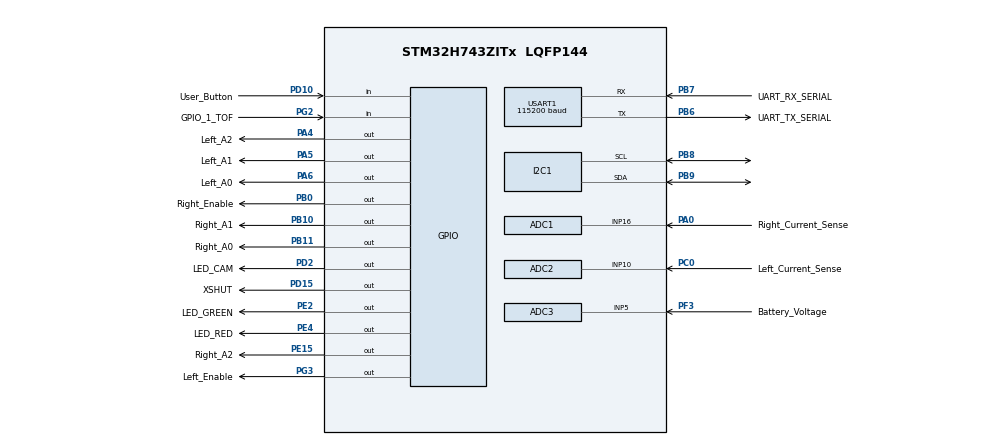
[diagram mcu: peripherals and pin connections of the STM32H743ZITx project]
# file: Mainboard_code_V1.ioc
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ADC1.Channel-0\#ChannelRegularConversion=ADC_CHANNEL_16
ADC1.ClockPrescaler=ADC_CLOCK_ASYNC_DIV4
ADC1.NbrOfConversionFlag=1
ADC1.OffsetNumber-0\#ChannelRegularConversion=ADC_OFFSET_NONE
ADC1.OffsetSignedSaturation-0\#ChannelRegularConversion=DISABLE
ADC1.Rank-0\#ChannelRegularConversion=1
ADC1.SamplingTime-0\#ChannelRegularConversion=ADC_SAMPLETIME_1CYCLE_5
ADC1.master=1
ADC2.Channel-0\#ChannelRegularConversion=ADC_CHANNEL_10
ADC2.ClockPrescaler=ADC_CLOCK_ASYNC_DIV4
ADC2.NbrOfConversionFlag=1
ADC2.OffsetNumber-0\#ChannelRegularConversion=ADC_OFFSET_NONE
ADC2.OffsetSignedSaturation-0\#ChannelRegularConversion=DISABLE
ADC2.Rank-0\#ChannelRegularConversion=1
ADC2.SamplingTime-0\#ChannelRegularConversion=ADC_SAMPLETIME_1CYCLE_5
ADC3.Channel-0\#ChannelRegularConversion=ADC_CHANNEL_5
ADC3.ClockPrescaler=ADC_CLOCK_ASYNC_DIV4
ADC3.NbrOfConversionFlag=1
ADC3.OffsetNumber-0\#ChannelRegularConversion=ADC_OFFSET_NONE
ADC3.OffsetSignedSaturation-0\#ChannelRegularConversion=DISABLE
ADC3.Rank-0\#ChannelRegularConversion=1
ADC3.SamplingTime-0\#ChannelRegularConversion=ADC_SAMPLETIME_1CYCLE_5
CORTEX_M7.default_mode_Activation=1
I2C1.Timing=0x00303D5B
Mcu.Family=STM32H7
Mcu.Name=STM32H743ZITx
Mcu.Package=LQFP144
NVIC.PriorityGroup=NVIC_PRIORITYGROUP_4
PA0.GPIO_Label=Right_Current_Sense
PA0.Mode=IN16-Single-Ended
PA0.Signal=ADC1_INP16
PA13\ (JTMS/SWDIO).Signal=DEBUG_JTMS-SWDIO
PA14\ (JTCK/SWCLK).Signal=DEBUG_JTCK-SWCLK
PA4.GPIO_Label=Left_A2
PA4.Signal=GPIO_Output
PA5.GPIO_Label=Left_A1
PA5.Signal=GPIO_Output
PA6.GPIO_Label=Left_A0
PA6.Signal=GPIO_Output
PA8.GPIO_Label=DIN_WS2812B_1
PA8.Signal=S_TIM1_CH1
PA9.GPIO_Label=DIN_WS2812B_2
PA9.Signal=S_TIM1_CH2
PB0.GPIO_Label=Right_Enable
PB0.Signal=GPIO_Output
PB10.GPIO_Label=Right_A1
PB10.Signal=GPIO_Output
PB11.GPIO_Label=Right_A0
PB11.Signal=GPIO_Output
PB3\ (JTDO/TRACESWO).Signal=DEBUG_JTDO-SWO
PB6.GPIO_Label=UART_TX_SERIAL
PB6.GPIO_PuPd=GPIO_NOPULL
PB6.GPIO_Speed=GPIO_SPEED_FREQ_VERY_HIGH
PB6.Mode=Asynchronous
PB6.Signal=USART1_TX
PB7.GPIO_Label=UART_RX_SERIAL
PB7.GPIO_Speed=GPIO_SPEED_FREQ_VERY_HIGH
PB7.Mode=Asynchronous
PB7.Signal=USART1_RX
PB8.GPIO_Speed=GPIO_SPEED_FREQ_VERY_HIGH
PB8.Mode=I2C
PB8.Signal=I2C1_SCL
PB9.GPIO_Speed=GPIO_SPEED_FREQ_VERY_HIGH
PB9.Mode=I2C
PB9.Signal=I2C1_SDA
PC0.GPIO_Label=Left_Current_Sense
PC0.Signal=ADCx_INP10
PD10.GPIO_Label=User_Button
PD10.Signal=GPIO_Input
PD15.GPIO_Label=XSHUT
PD15.Signal=GPIO_Output
PD2.GPIO_Label=LED_CAM
PD2.Signal=GPIO_Output
PE15.GPIO_Label=Right_A2
PE15.Signal=GPIO_Output
PE2.GPIO_Label=LED_GREEN
PE2.Signal=GPIO_Output
PE4.GPIO_Label=LED_RED
PE4.Signal=GPIO_Output
PF3.GPIO_Label=Battery_Voltage
PF3.Mode=IN5-Single-Ended
PF3.Signal=ADC3_INP5
PG2.GPIO_Label=GPIO_1_TOF
PG2.GPIO_PuPd=GPIO_PULLUP
PG2.Signal=GPIO_Input
PG3.GPIO_Label=Left_Enable
PG3.Signal=GPIO_Output
ProjectManager.HeapSize=0x200
ProjectManager.StackSize=0x400
ProjectManager.TargetToolchain=STM32CubeIDE
RCC.ADCFreq_Value=80000000
RCC.APB1Freq_Value=16000000
RCC.APB2Freq_Value=16000000
RCC.APB3Freq_Value=32000000
RCC.APB4Freq_Value=32000000
RCC.CortexFreq_Value=32000000
RCC.D2PPRE1=RCC_APB1_DIV2
RCC.D2PPRE2=RCC_APB2_DIV2
RCC.DIVM2=2
RCC.DIVN2=10
RCC.HCLKFreq_Value=32000000
RCC.HSIDiv=RCC_PLLSAIDIVR_2
RCC.PLL2FRACN=0
RCC.SYSCLKFreq_VALUE=32000000
RCC.USBFreq_Value=64500000
SH.ADCx_INP10.0=ADC2_INP10,IN10-Single-Ended
SH.S_TIM1_CH1.0=TIM1_CH1
SH.S_TIM1_CH2.0=TIM1_CH2
USART1.BaudRate=115200
USART1.VirtualMode-Asynchronous=VM_ASYNC
VP_MEMORYMAP_VS_MEMORYMAP.Mode=CurAppReg
board=custom

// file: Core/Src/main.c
/* USER CODE BEGIN Header */
/**
  ******************************************************************************
  * @file           : main.c
  * @brief          : Hexapod mainboard — IMU + ToF readout + dual PCA9685 servo control
  *
  * UART commands (115200 8N1, terminated with \r or \n):
  *   R<n> <angle>   — set servo n (1-9) on Right board to angle (0-180)
  *   L<n> <angle>   — set servo n (1-9) on Left  board to angle (0-180)
  *   STATUS         — print one sensor snapshot
  *   STREAM         — toggle continuous sensor output (~10 Hz)
  *   CENTER         — move all servos to 90° (both boards)
  *
  * Examples:
  *   R3 90    → right servo 3 to 90°
  *   L5 45    → left servo 5 to 45°
  ******************************************************************************
  */
/* USER CODE END Header */

#include "main.h"

/* USER CODE BEGIN Includes */
#include <stdio.h>
#include <string.h>
#include <stdint.h>
#include <ctype.h>
#include "pca9685.h"
#include "imu.h"
#include "tof.h"
/* USER CODE END Includes */

ADC_HandleTypeDef hadc1;
ADC_HandleTypeDef hadc2;
ADC_HandleTypeDef hadc3;
I2C_HandleTypeDef hi2c1;
UART_HandleTypeDef huart1;

/* USER CODE BEGIN PV */
/* Servo Drivers */
static PCA9685_t pca_right;
static PCA9685_t pca_left;

/* IMU */
static stmdev_ctx_t imu_ctx;
static IMU_Data_t   imu_data;

/* ToF */
static TOF_Data_t tof_data;

/* UART receive */
#define CMD_BUF_LEN 32
static char    cmd_buf[CMD_BUF_LEN];
static uint8_t cmd_idx   = 0;
static uint8_t cmd_ready = 0;

/* Sensor streaming */
static uint8_t  stream_on      = 0;
static uint32_t next_stream_ms = 0;
#define STREAM_INTERVAL_MS  100u   /* 10 Hz */
/* USER CODE END PV */

void SystemClock_Config(void);
void PeriphCommonClock_Config(void);
static void MPU_Config(void);
static void MX_GPIO_Init(void);
static void MX_USART1_UART_Init(void);
static void MX_ADC1_Init(void);
static void MX_ADC2_Init(void);
static void MX_ADC3_Init(void);
static void MX_I2C1_Init(void);

/* USER CODE BEGIN PFP */
static void process_command(const char *cmd);
static void center_all_servos(void);
/* USER CODE END PFP */

/* USER CODE BEGIN 0 */

/* SYS-remap to UART */
int _write(int file, char *ptr, int len)
{
    HAL_UART_Transmit(&huart1, (uint8_t *)ptr, len, HAL_MAX_DELAY);
    return len;
}

/* ── UART polling receive — call every main loop iteration ─────────────── */
static void uart_poll(void)
{
    uint8_t byte;
    if (HAL_UART_Receive(&huart1, &byte, 1, 1) != HAL_OK)
        return;   /* no byte within 1 ms */

    char c = (char)byte;

    /* Echo the character back so the user sees what they typed */
    HAL_UART_Transmit(&huart1, &byte, 1, 10);

    if (c == '\r' || c == '\n') {
        /* Echo newline */
        uint8_t crlf[2] = {'\r', '\n'};
        HAL_UART_Transmit(&huart1, crlf, 2, 10);

        if (cmd_idx > 0) {
            cmd_buf[cmd_idx] = '\0';
            cmd_idx   = 0;
            cmd_ready = 1;
        }
    } else if (c == 127 || c == '\b') {
        /* Backspace — remove last char */
        if (cmd_idx > 0) cmd_idx--;
    } else if (cmd_idx < CMD_BUF_LEN - 1) {
        cmd_buf[cmd_idx++] = c;
    }
}

/* ── Command processing ─────────────────────────────────────────────────── */

static void process_command(const char *cmd)
{
    char side;
    int  index;
    float angle;

    /* Convert first char to upper for case-insensitive match */
    char first = (char)toupper((unsigned char)cmd[0]);

    if (first == 'R' || first == 'L') {
        /* Servo command: R<n> <angle>  or  L<n> <angle> */
        if (sscanf(cmd + 1, "%d %f", &index, &angle) == 2) {
            if (index < 1 || index > 9) {
                printf("ERR: servo index must be 1-9\r\n");
                return;
            }
            side = first;
            PCA9685_t *board = (side == 'R') ? &pca_right : &pca_left;
            HAL_StatusTypeDef s = PCA9685_SetServoAngle(board,
                                      (uint8_t)(index - 1), angle);
            if (s == HAL_OK)
                printf("OK: %c%d = %.1f deg\r\n", side, index, angle);
            else
                printf("ERR: I2C failed for %c%d\r\n", side, index);
        } else {
            printf("ERR: format is R<1-9> <0-180>  e.g. R3 90\r\n");
        }

    } else if (strncmp(cmd, "STATUS", 6) == 0 ||
               strncmp(cmd, "status", 6) == 0) {
        IMU_Read(&imu_ctx, &imu_data);
        IMU_Print(&imu_data);
        int8_t got = TOF_Read(&tof_data);
        if (got == 1)
            TOF_Print(&tof_data);
        else
            printf("TOF | no data\r\n");

    } else if (strncmp(cmd, "STREAM", 6) == 0 ||
               strncmp(cmd, "stream", 6) == 0) {
        stream_on = !stream_on;
        printf("STREAM %s\r\n", stream_on ? "ON" : "OFF");

    } else if (strncmp(cmd, "CENTER", 6) == 0 ||
               strncmp(cmd, "center", 6) == 0) {
        center_all_servos();
        printf("OK: all servos centered\r\n");

    } else {
        printf("ERR: unknown command '%s'\r\n", cmd);
        printf("     Valid: R<1-9> <deg>, L<1-9> <deg>, STATUS, STREAM, CENTER\r\n");
    }
}

static void center_all_servos(void)
{
    for (uint8_t ch = 0; ch < 9; ch++) {
    	PCA9685_SetServoAngle(&pca_right, ch, 90.0f);
        PCA9685_SetServoAngle(&pca_left,  ch, 90.0f);
    }
}

/* USER CODE END 0 */

int main(void)
{
    MPU_Config();
    HAL_Init();
    SystemClock_Config();
    PeriphCommonClock_Config();

    MX_GPIO_Init();
    MX_USART1_UART_Init();
    MX_ADC1_Init();
    MX_ADC2_Init();
    MX_ADC3_Init();
    MX_I2C1_Init();

    /* USER CODE BEGIN 2 */
    setvbuf(stdout, NULL, _IONBF, 0);

    printf("\r\n=== Hexapod Mainboard ===\r\n");

    /* ── Enable servo driver OE pins (active-low on your board) ── */
    HAL_GPIO_WritePin(Right_Enable_GPIO_Port, Right_Enable_Pin, GPIO_PIN_RESET);
    HAL_GPIO_WritePin(Left_Enable_GPIO_Port,  Left_Enable_Pin,  GPIO_PIN_RESET);

    /* ── PCA9685 Right ────────────────────────────────────────── */
    pca_right.hi2c   = &hi2c1;
    pca_right.addr   = PCA9685_ADDR_RIGHT;
    pca_right.freq_hz = 50.0f;
    pca_right.min_us = PCA9685_SERVO_MIN_US;
    pca_right.max_us = PCA9685_SERVO_MAX_US;

    if (PCA9685_Init(&pca_right) == HAL_OK)
        printf("PCA9685 Right: OK\r\n");
    else
        printf("PCA9685 Right: FAIL\r\n");

    /* ── PCA9685 Left ─────────────────────────────────────────── */
    pca_left.hi2c   = &hi2c1;
    pca_left.addr   = PCA9685_ADDR_LEFT;
    pca_left.freq_hz = 50.0f;
    pca_left.min_us = PCA9685_SERVO_MIN_US;
    pca_left.max_us = PCA9685_SERVO_MAX_US;

    if (PCA9685_Init(&pca_left) == HAL_OK)
        printf("PCA9685 Left:  OK\r\n");
    else
        printf("PCA9685 Left:  FAIL\r\n");

    /* Center all servos on boot */
    center_all_servos();

    /* ── IMU ──────────────────────────────────────────────────── */
    if (IMU_Init(&imu_ctx, &hi2c1) == 0)
        printf("LSM6DSO IMU:   OK\r\n");
    else
        printf("LSM6DSO IMU:   FAIL\r\n");

    /* ── ToF ──────────────────────────────────────────────────── */
    if (TOF_Init(&hi2c1) == 0)
        printf("VL53L1X ToF:   OK\r\n");
    else
        printf("VL53L1X ToF:   FAIL\r\n");

    printf("\r\nReady. Send commands (e.g. R3 90, L5 45, STATUS, STREAM)\r\n> ");
    /* USER CODE END 2 */

    /* Infinite loop */
    while (1)
    {
        /* USER CODE BEGIN WHILE */

        /* ── Poll for incoming UART bytes ──────────────────────── */
        uart_poll();

        /* ── Handle completed command ───────────────────────────── */
        if (cmd_ready) {
            cmd_ready = 0;
            process_command(cmd_buf);
            printf("> ");   /* prompt for next command */
        }

        /* ── Streaming sensor output ───────────────────────────── */
        if (stream_on && HAL_GetTick() >= next_stream_ms) {
            next_stream_ms = HAL_GetTick() + STREAM_INTERVAL_MS;

            IMU_Read(&imu_ctx, &imu_data);
            IMU_Print(&imu_data);

            int8_t got = TOF_Read(&tof_data);
            if (got == 1) TOF_Print(&tof_data);
        }

        /* ── Heartbeat LED ─────────────────────────────────────── */
        static uint32_t last_led = 0;
        if (HAL_GetTick() - last_led >= 500) {
            last_led = HAL_GetTick();
            HAL_GPIO_TogglePin(LED_GREEN_GPIO_Port, LED_GREEN_Pin);
        }

        /* USER CODE END WHILE */
    }
}

void SystemClock_Config(void)
{
    RCC_OscInitTypeDef RCC_OscInitStruct = {0};
    RCC_ClkInitTypeDef RCC_ClkInitStruct = {0};

    HAL_PWREx_ConfigSupply(PWR_LDO_SUPPLY);
    __HAL_PWR_VOLTAGESCALING_CONFIG(PWR_REGULATOR_VOLTAGE_SCALE3);
    while (!__HAL_PWR_GET_FLAG(PWR_FLAG_VOSRDY)) {}

    __HAL_RCC_PLL_PLLSOURCE_CONFIG(RCC_PLLSOURCE_HSI);

    RCC_OscInitStruct.OscillatorType      = RCC_OSCILLATORTYPE_HSI;
    RCC_OscInitStruct.HSIState            = RCC_HSI_DIV2;
    RCC_OscInitStruct.HSICalibrationValue = RCC_HSICALIBRATION_DEFAULT;
    RCC_OscInitStruct.PLL.PLLState        = RCC_PLL_NONE;
    if (HAL_RCC_OscConfig(&RCC_OscInitStruct) != HAL_OK) Error_Handler();

    RCC_ClkInitStruct.ClockType      = RCC_CLOCKTYPE_HCLK | RCC_CLOCKTYPE_SYSCLK
                                     | RCC_CLOCKTYPE_PCLK1 | RCC_CLOCKTYPE_PCLK2
                                     | RCC_CLOCKTYPE_D3PCLK1 | RCC_CLOCKTYPE_D1PCLK1;
    RCC_ClkInitStruct.SYSCLKSource   = RCC_SYSCLKSOURCE_HSI;
    RCC_ClkInitStruct.SYSCLKDivider  = RCC_SYSCLK_DIV1;
    RCC_ClkInitStruct.AHBCLKDivider  = RCC_HCLK_DIV1;
    RCC_ClkInitStruct.APB3CLKDivider = RCC_APB3_DIV1;
    RCC_ClkInitStruct.APB1CLKDivider = RCC_APB1_DIV2;
    RCC_ClkInitStruct.APB2CLKDivider = RCC_APB2_DIV2;
    RCC_ClkInitStruct.APB4CLKDivider = RCC_APB4_DIV1;
    if (HAL_RCC_ClockConfig(&RCC_ClkInitStruct, FLASH_LATENCY_0) != HAL_OK)
        Error_Handler();
}

void PeriphCommonClock_Config(void)
{
    RCC_PeriphCLKInitTypeDef PeriphClkInitStruct = {0};

    PeriphClkInitStruct.PeriphClockSelection = RCC_PERIPHCLK_ADC;
    PeriphClkInitStruct.PLL2.PLL2M           = 2;
    PeriphClkInitStruct.PLL2.PLL2N           = 10;
    PeriphClkInitStruct.PLL2.PLL2P           = 2;
    PeriphClkInitStruct.PLL2.PLL2Q           = 2;
    PeriphClkInitStruct.PLL2.PLL2R           = 2;
    PeriphClkInitStruct.PLL2.PLL2RGE         = RCC_PLL2VCIRANGE_3;
    PeriphClkInitStruct.PLL2.PLL2VCOSEL      = RCC_PLL2VCOMEDIUM;
    PeriphClkInitStruct.PLL2.PLL2FRACN       = 0;
    PeriphClkInitStruct.AdcClockSelection    = RCC_ADCCLKSOURCE_PLL2;
    if (HAL_RCCEx_PeriphCLKConfig(&PeriphClkInitStruct) != HAL_OK) Error_Handler();
}

/**
  * @brief ADC1 Initialization
  */
static void MX_ADC1_Init(void)
{
    ADC_MultiModeTypeDef multimode = {0};
    ADC_ChannelConfTypeDef sConfig = {0};

    hadc1.Instance                   = ADC1;
    hadc1.Init.ClockPrescaler        = ADC_CLOCK_ASYNC_DIV4;
    hadc1.Init.Resolution            = ADC_RESOLUTION_16B;
    hadc1.Init.ScanConvMode          = ADC_SCAN_DISABLE;
    hadc1.Init.EOCSelection          = ADC_EOC_SINGLE_CONV;
    hadc1.Init.LowPowerAutoWait      = DISABLE;
    hadc1.Init.ContinuousConvMode    = DISABLE;
    hadc1.Init.NbrOfConversion       = 1;
    hadc1.Init.DiscontinuousConvMode = DISABLE;
    hadc1.Init.ExternalTrigConv      = ADC_SOFTWARE_START;
    hadc1.Init.ExternalTrigConvEdge  = ADC_EXTERNALTRIGCONVEDGE_NONE;
    hadc1.Init.ConversionDataManagement = ADC_CONVERSIONDATA_DR;
    hadc1.Init.Overrun               = ADC_OVR_DATA_PRESERVED;
    hadc1.Init.LeftBitShift          = ADC_LEFTBITSHIFT_NONE;
    hadc1.Init.OversamplingMode      = DISABLE;
    hadc1.Init.Oversampling.Ratio    = 1;
    if (HAL_ADC_Init(&hadc1) != HAL_OK) Error_Handler();

    multimode.Mode = ADC_MODE_INDEPENDENT;
    if (HAL_ADCEx_MultiModeConfigChannel(&hadc1, &multimode) != HAL_OK) Error_Handler();

    sConfig.Channel              = ADC_CHANNEL_16;
    sConfig.Rank                 = ADC_REGULAR_RANK_1;
    sConfig.SamplingTime         = ADC_SAMPLETIME_1CYCLE_5;
    sConfig.SingleDiff           = ADC_SINGLE_ENDED;
    sConfig.OffsetNumber         = ADC_OFFSET_NONE;
    sConfig.Offset               = 0;
    sConfig.OffsetSignedSaturation = DISABLE;
    if (HAL_ADC_ConfigChannel(&hadc1, &sConfig) != HAL_OK) Error_Handler();
}

/**
  * @brief ADC2 Initialization
  */
static void MX_ADC2_Init(void)
{
    ADC_ChannelConfTypeDef sConfig = {0};

    hadc2.Instance                   = ADC2;
    hadc2.Init.ClockPrescaler        = ADC_CLOCK_ASYNC_DIV4;
    hadc2.Init.Resolution            = ADC_RESOLUTION_16B;
    hadc2.Init.ScanConvMode          = ADC_SCAN_DISABLE;
    hadc2.Init.EOCSelection          = ADC_EOC_SINGLE_CONV;
    hadc2.Init.LowPowerAutoWait      = DISABLE;
    hadc2.Init.ContinuousConvMode    = DISABLE;
    hadc2.Init.NbrOfConversion       = 1;
    hadc2.Init.DiscontinuousConvMode = DISABLE;
    hadc2.Init.ExternalTrigConv      = ADC_SOFTWARE_START;
    hadc2.Init.ExternalTrigConvEdge  = ADC_EXTERNALTRIGCONVEDGE_NONE;
    hadc2.Init.ConversionDataManagement = ADC_CONVERSIONDATA_DR;
    hadc2.Init.Overrun               = ADC_OVR_DATA_PRESERVED;
    hadc2.Init.LeftBitShift          = ADC_LEFTBITSHIFT_NONE;
    hadc2.Init.OversamplingMode      = DISABLE;
    hadc2.Init.Oversampling.Ratio    = 1;
    if (HAL_ADC_Init(&hadc2) != HAL_OK) Error_Handler();

    sConfig.Channel              = ADC_CHANNEL_10;
    sConfig.Rank                 = ADC_REGULAR_RANK_1;
    sConfig.SamplingTime         = ADC_SAMPLETIME_1CYCLE_5;
    sConfig.SingleDiff           = ADC_SINGLE_ENDED;
    sConfig.OffsetNumber         = ADC_OFFSET_NONE;
    sConfig.Offset               = 0;
    sConfig.OffsetSignedSaturation = DISABLE;
    if (HAL_ADC_ConfigChannel(&hadc2, &sConfig) != HAL_OK) Error_Handler();
}

/**
  * @brief ADC3 Initialization
  */
static void MX_ADC3_Init(void)
{
    ADC_ChannelConfTypeDef sConfig = {0};

    hadc3.Instance                   = ADC3;
    hadc3.Init.ClockPrescaler        = ADC_CLOCK_ASYNC_DIV4;
    hadc3.Init.Resolution            = ADC_RESOLUTION_16B;
    hadc3.Init.ScanConvMode          = ADC_SCAN_DISABLE;
    hadc3.Init.EOCSelection          = ADC_EOC_SINGLE_CONV;
    hadc3.Init.LowPowerAutoWait      = DISABLE;
    hadc3.Init.ContinuousConvMode    = DISABLE;
    hadc3.Init.NbrOfConversion       = 1;
    hadc3.Init.DiscontinuousConvMode = DISABLE;
    hadc3.Init.ExternalTrigConv      = ADC_SOFTWARE_START;
    hadc3.Init.ExternalTrigConvEdge  = ADC_EXTERNALTRIGCONVEDGE_NONE;
    hadc3.Init.ConversionDataManagement = ADC_CONVERSIONDATA_DR;
    hadc3.Init.Overrun               = ADC_OVR_DATA_PRESERVED;
    hadc3.Init.LeftBitShift          = ADC_LEFTBITSHIFT_NONE;
    hadc3.Init.OversamplingMode      = DISABLE;
    hadc3.Init.Oversampling.Ratio    = 1;
    if (HAL_ADC_Init(&hadc3) != HAL_OK) Error_Handler();

    sConfig.Channel              = ADC_CHANNEL_5;
    sConfig.Rank                 = ADC_REGULAR_RANK_1;
    sConfig.SamplingTime         = ADC_SAMPLETIME_1CYCLE_5;
    sConfig.SingleDiff           = ADC_SINGLE_ENDED;
    sConfig.OffsetNumber         = ADC_OFFSET_NONE;
    sConfig.Offset               = 0;
    sConfig.OffsetSignedSaturation = DISABLE;
    if (HAL_ADC_ConfigChannel(&hadc3, &sConfig) != HAL_OK) Error_Handler();
}

/**
  * @brief I2C1 Initialization
  */
static void MX_I2C1_Init(void)
{
    hi2c1.Instance              = I2C1;
    hi2c1.Init.Timing           = 0x00303D5B;
    hi2c1.Init.OwnAddress1      = 0;
    hi2c1.Init.AddressingMode   = I2C_ADDRESSINGMODE_7BIT;
    hi2c1.Init.DualAddressMode  = I2C_DUALADDRESS_DISABLE;
    hi2c1.Init.OwnAddress2      = 0;
    hi2c1.Init.OwnAddress2Masks = I2C_OA2_NOMASK;
    hi2c1.Init.GeneralCallMode  = I2C_GENERALCALL_DISABLE;
    hi2c1.Init.NoStretchMode    = I2C_NOSTRETCH_DISABLE;
    if (HAL_I2C_Init(&hi2c1) != HAL_OK) Error_Handler();
    if (HAL_I2CEx_ConfigAnalogFilter(&hi2c1, I2C_ANALOGFILTER_ENABLE) != HAL_OK) Error_Handler();
    if (HAL_I2CEx_ConfigDigitalFilter(&hi2c1, 0) != HAL_OK) Error_Handler();
}

/**
  * @brief USART1 Initialization
  */
static void MX_USART1_UART_Init(void)
{
    huart1.Instance            = USART1;
    huart1.Init.BaudRate       = 115200;
    huart1.Init.WordLength     = UART_WORDLENGTH_8B;
    huart1.Init.StopBits       = UART_STOPBITS_1;
    huart1.Init.Parity         = UART_PARITY_NONE;
    huart1.Init.Mode           = UART_MODE_TX_RX;
    huart1.Init.HwFlowCtl      = UART_HWCONTROL_NONE;
    huart1.Init.OverSampling   = UART_OVERSAMPLING_16;
    huart1.Init.OneBitSampling = UART_ONE_BIT_SAMPLE_DISABLE;
    huart1.Init.ClockPrescaler = UART_PRESCALER_DIV1;
    huart1.AdvancedInit.AdvFeatureInit = UART_ADVFEATURE_NO_INIT;
    if (HAL_UART_Init(&huart1) != HAL_OK) Error_Handler();
    if (HAL_UARTEx_SetTxFifoThreshold(&huart1, UART_TXFIFO_THRESHOLD_1_8) != HAL_OK) Error_Handler();
    if (HAL_UARTEx_SetRxFifoThreshold(&huart1, UART_RXFIFO_THRESHOLD_1_8) != HAL_OK) Error_Handler();
    if (HAL_UARTEx_DisableFifoMode(&huart1) != HAL_OK) Error_Handler();
}

/**
  * @brief GPIO Initialization
  */
static void MX_GPIO_Init(void)
{
    GPIO_InitTypeDef GPIO_InitStruct = {0};

    __HAL_RCC_GPIOE_CLK_ENABLE();
    __HAL_RCC_GPIOF_CLK_ENABLE();
    __HAL_RCC_GPIOC_CLK_ENABLE();
    __HAL_RCC_GPIOA_CLK_ENABLE();
    __HAL_RCC_GPIOB_CLK_ENABLE();
    __HAL_RCC_GPIOD_CLK_ENABLE();
    __HAL_RCC_GPIOG_CLK_ENABLE();

    HAL_GPIO_WritePin(GPIOE, LED_GREEN_Pin | LED_RED_Pin | Right_A2_Pin, GPIO_PIN_RESET);
    HAL_GPIO_WritePin(GPIOA, Left_A2_Pin | Left_A1_Pin | Left_A0_Pin, GPIO_PIN_RESET);
    HAL_GPIO_WritePin(GPIOB, Right_Enable_Pin | Right_A1_Pin | Right_A0_Pin, GPIO_PIN_RESET);
    HAL_GPIO_WritePin(GPIOD, XSHUT_Pin | LED_CAM_Pin, GPIO_PIN_RESET);
    HAL_GPIO_WritePin(Left_Enable_GPIO_Port, Left_Enable_Pin, GPIO_PIN_RESET);

    GPIO_InitStruct.Pin   = LED_GREEN_Pin | LED_RED_Pin | Right_A2_Pin;
    GPIO_InitStruct.Mode  = GPIO_MODE_OUTPUT_PP;
    GPIO_InitStruct.Pull  = GPIO_NOPULL;
    GPIO_InitStruct.Speed = GPIO_SPEED_FREQ_LOW;
    HAL_GPIO_Init(GPIOE, &GPIO_InitStruct);

    GPIO_InitStruct.Pin = Left_A2_Pin | Left_A1_Pin | Left_A0_Pin;
    HAL_GPIO_Init(GPIOA, &GPIO_InitStruct);

    GPIO_InitStruct.Pin = Right_Enable_Pin | Right_A1_Pin | Right_A0_Pin;
    HAL_GPIO_Init(GPIOB, &GPIO_InitStruct);

    GPIO_InitStruct.Pin  = User_Button_Pin;
    GPIO_InitStruct.Mode = GPIO_MODE_INPUT;
    GPIO_InitStruct.Pull = GPIO_NOPULL;
    HAL_GPIO_Init(User_Button_GPIO_Port, &GPIO_InitStruct);

    GPIO_InitStruct.Pin   = XSHUT_Pin | LED_CAM_Pin;
    GPIO_InitStruct.Mode  = GPIO_MODE_OUTPUT_PP;
    GPIO_InitStruct.Pull  = GPIO_NOPULL;
    GPIO_InitStruct.Speed = GPIO_SPEED_FREQ_LOW;
    HAL_GPIO_Init(GPIOD, &GPIO_InitStruct);

    GPIO_InitStruct.Pin  = GPIO_1_TOF_Pin;
    GPIO_InitStruct.Mode = GPIO_MODE_INPUT;
    GPIO_InitStruct.Pull = GPIO_PULLUP;
    HAL_GPIO_Init(GPIO_1_TOF_GPIO_Port, &GPIO_InitStruct);

    GPIO_InitStruct.Pin   = Left_Enable_Pin;
    GPIO_InitStruct.Mode  = GPIO_MODE_OUTPUT_PP;
    GPIO_InitStruct.Pull  = GPIO_NOPULL;
    GPIO_InitStruct.Speed = GPIO_SPEED_FREQ_LOW;
    HAL_GPIO_Init(Left_Enable_GPIO_Port, &GPIO_InitStruct);

    GPIO_InitStruct.Pin       = DIN_WS2812B_1_Pin | DIN_WS2812B_2_Pin;
    GPIO_InitStruct.Mode      = GPIO_MODE_AF_PP;
    GPIO_InitStruct.Pull      = GPIO_NOPULL;
    GPIO_InitStruct.Speed     = GPIO_SPEED_FREQ_LOW;
    GPIO_InitStruct.Alternate = GPIO_AF1_TIM1;
    HAL_GPIO_Init(GPIOA, &GPIO_InitStruct);
}

void MPU_Config(void)
{
    MPU_Region_InitTypeDef MPU_InitStruct = {0};

    HAL_MPU_Disable();

    MPU_InitStruct.Enable           = MPU_REGION_ENABLE;
    MPU_InitStruct.Number           = MPU_REGION_NUMBER0;
    MPU_InitStruct.BaseAddress      = 0x0;
    MPU_InitStruct.Size             = MPU_REGION_SIZE_4GB;
    MPU_InitStruct.SubRegionDisable = 0x87;
    MPU_InitStruct.TypeExtField     = MPU_TEX_LEVEL0;
    MPU_InitStruct.AccessPermission = MPU_REGION_NO_ACCESS;
    MPU_InitStruct.DisableExec      = MPU_INSTRUCTION_ACCESS_DISABLE;
    MPU_InitStruct.IsShareable      = MPU_ACCESS_SHAREABLE;
    MPU_InitStruct.IsCacheable      = MPU_ACCESS_NOT_CACHEABLE;
    MPU_InitStruct.IsBufferable     = MPU_ACCESS_NOT_BUFFERABLE;
    HAL_MPU_ConfigRegion(&MPU_InitStruct);

    HAL_MPU_Enable(MPU_PRIVILEGED_DEFAULT);
}

void Error_Handler(void)
{
    __disable_irq();
    while (1) {}
}
